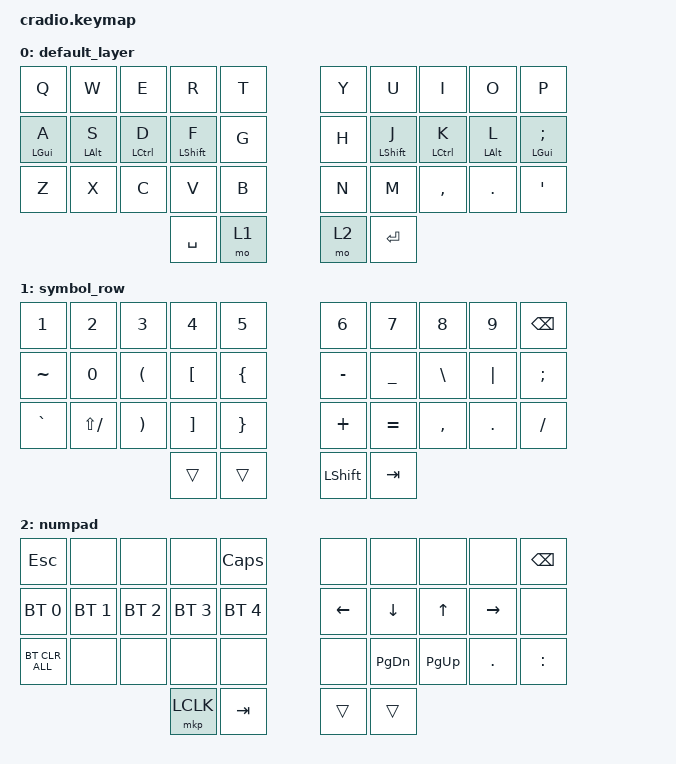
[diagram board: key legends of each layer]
#include <behaviors.dtsi>
#include <dt-bindings/zmk/bt.h>
#include <dt-bindings/zmk/keys.h>
#include <dt-bindings/zmk/mouse.h>

// Removed macros as DTS does not support #define directives

#define DEF 0
#define HRM 1
#define NUM 2
#define MOU 6

/ {
    behaviors {
        ht: hold_tap {
            label = "hold_tap";
            compatible = "zmk,behavior-hold-tap";
            #binding-cells = <2>;
            flavor = "balanced";
            tapping-term-ms = <220>;
            quick-tap-ms = <150>;
            require-prior-idle-ms = <100>;
            bindings = <&kp>, <&kp>;
        };
    };

    combos {
        compatible = "zmk,combos";

        left_hand_esc_combo {
            bindings = <&kp ESCAPE>;
            key-positions = <0 10>;
            require-prior-idle-ms = <200>;
        };

        left_hand_tab {
            bindings = <&kp TAB>;
            key-positions = <1 11>;
            require-prior-idle-ms = <200>;
        };

        left_hand_enter_combo {
            bindings = <&kp ENTER>;
            key-positions = <3 13>;
            require-prior-idle-ms = <200>;
        };

        left_hand_backspace {
            bindings = <&kp BSPC>;
            key-positions = <4 14>;
            require-prior-idle-ms = <200>;
        };

        right_hand_backspace {
            bindings = <&kp BACKSPACE>;
            key-positions = <9 8>;
        };

        invoke_arrow_func {
            bindings = <&arrow_func>;
            key-positions = <29 28 27 26>;
        };
    };

    macros {
        arrow_func: arrow_func {
            compatible = "zmk,behavior-macro";
            #binding-cells = <0>;
            bindings = <&none &kp LPAR &kp RPAR &kp SPACE &kp EQUAL &kp GT &kp SPACE &kp LEFT_BRACE>;
            label = "ARROW_FUNC";
        };
    };

    keymap {
        compatible = "zmk,keymap";

        default_layer {
            bindings = <
&kp Q       &kp W       &kp E        &kp R         &kp T    &kp Y  &kp U             &kp I        &kp O           &kp P
&ht LGUI A  &ht LALT S  &ht LCTRL D  &ht LSHIFT F  &kp G    &kp H  &ht LEFT_SHIFT J  &ht LCTRL K  &ht LEFT_ALT L  &ht LEFT_GUI SEMI
&kp Z       &kp X       &kp C        &kp V         &kp B    &kp N  &kp M             &kp COMMA    &kp DOT         &kp SQT
                                     &kp SPACE     &mo 1    &mo 2  &kp ENTER
            >;
        };

        symbol_row {
            bindings = <
&kp N1     &kp N2        &kp N3    &kp N4    &kp N5      &kp N6      &kp N7     &kp N8     &kp N9    &kp BSPC
&kp TILDE  &kp N0        &kp LPAR  &kp LBKT  &kp LBRC    &kp MINUS   &kp UNDER  &kp BSLH   &kp PIPE  &kp SEMI
&kp GRAVE  &kp LS(FSLH)  &kp RPAR  &kp RBKT  &kp RBRC    &kp PLUS    &kp EQUAL  &kp COMMA  &kp DOT   &kp FSLH
                                   &trans    &trans      &kp LSHIFT  &kp TAB
            >;
        };

        numpad {
            bindings = <
&kp ESC         &none         &none         &none         &kp CAPS        &none     &none      &none      &none      &kp BSPC
&bt BT_SEL 0    &bt BT_SEL 1  &bt BT_SEL 2  &bt BT_SEL 3  &bt BT_SEL 4    &kp LEFT  &kp DOWN   &kp UP     &kp RIGHT  &none
&bt BT_CLR_ALL  &none         &none         &none         &none           &none     &kp PG_DN  &kp PG_UP  &kp DOT    &kp COLON
                                            &mkp LCLK     &kp TAB         &trans    &trans
            >;
        };
    };
};
